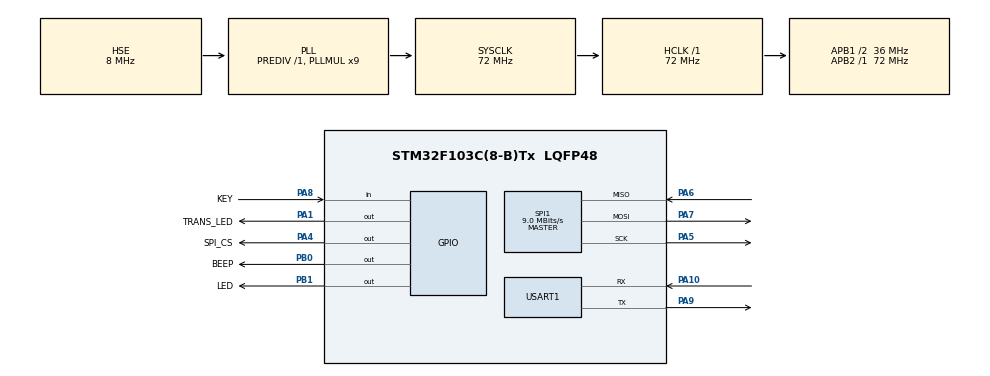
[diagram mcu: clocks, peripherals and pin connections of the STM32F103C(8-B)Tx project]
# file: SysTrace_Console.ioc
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Dma.Request0=USART1_RX
Dma.USART1_RX.0.Direction=DMA_PERIPH_TO_MEMORY
Dma.USART1_RX.0.Instance=DMA1_Channel5
Dma.USART1_RX.0.MemDataAlignment=DMA_MDATAALIGN_BYTE
Dma.USART1_RX.0.MemInc=DMA_MINC_ENABLE
Dma.USART1_RX.0.Mode=DMA_NORMAL
Dma.USART1_RX.0.PeriphDataAlignment=DMA_PDATAALIGN_BYTE
Dma.USART1_RX.0.PeriphInc=DMA_PINC_DISABLE
Dma.USART1_RX.0.Priority=DMA_PRIORITY_LOW
IWDG.Prescaler=IWDG_PRESCALER_64
IWDG.Reload=2499
Mcu.Family=STM32F1
Mcu.Name=STM32F103C(8-B)Tx
Mcu.Package=LQFP48
NVIC.DMA1_Channel5_IRQn=true\:6\:0\:true\:false\:true\:false\:true\:true
NVIC.PriorityGroup=NVIC_PRIORITYGROUP_4
NVIC.TIM1_UP_IRQn=true\:15\:0\:false\:false\:true\:false\:true\:true
NVIC.TimeBase=TIM1_UP_IRQn
NVIC.TimeBaseIP=TIM1
NVIC.USART1_IRQn=true\:6\:0\:true\:false\:true\:true\:true\:true
PA1.GPIO_Label=TRANS_LED
PA1.PinState=GPIO_PIN_RESET
PA1.Signal=GPIO_Output
PA10.Mode=Asynchronous
PA10.Signal=USART1_RX
PA13.Mode=Serial_Wire
PA13.Signal=SYS_JTMS-SWDIO
PA14.Mode=Serial_Wire
PA14.Signal=SYS_JTCK-SWCLK
PA4.GPIO_Label=SPI_CS
PA4.GPIO_ModeDefaultOutputPP=GPIO_MODE_OUTPUT_PP
PA4.PinState=GPIO_PIN_SET
PA4.Signal=GPIO_Output
PA5.Mode=Full_Duplex_Master
PA5.Signal=SPI1_SCK
PA6.Mode=Full_Duplex_Master
PA6.Signal=SPI1_MISO
PA7.Mode=Full_Duplex_Master
PA7.Signal=SPI1_MOSI
PA8.GPIO_Label=KEY
PA8.GPIO_PuPd=GPIO_PULLUP
PA8.Signal=GPIO_Input
PA9.Mode=Asynchronous
PA9.Signal=USART1_TX
PB0.GPIO_Label=BEEP
PB0.PinState=GPIO_PIN_SET
PB0.Signal=GPIO_Output
PB1.GPIO_Label=LED
PB1.GPIO_ModeDefaultOutputPP=GPIO_MODE_OUTPUT_PP
PB1.PinState=GPIO_PIN_RESET
PB1.Signal=GPIO_Output
PC14-OSC32_IN.Mode=LSE-External-Oscillator
PC14-OSC32_IN.Signal=RCC_OSC32_IN
PC15-OSC32_OUT.Mode=LSE-External-Oscillator
PC15-OSC32_OUT.Signal=RCC_OSC32_OUT
PD0-OSC_IN.Mode=HSE-External-Oscillator
PD0-OSC_IN.Signal=RCC_OSC_IN
PD1-OSC_OUT.Mode=HSE-External-Oscillator
PD1-OSC_OUT.Signal=RCC_OSC_OUT
ProjectManager.HeapSize=0x200
ProjectManager.StackSize=0x400
ProjectManager.TargetToolchain=CMake
RCC.AHBFreq_Value=72000000
RCC.APB1CLKDivider=RCC_HCLK_DIV2
RCC.APB1Freq_Value=36000000
RCC.APB1TimFreq_Value=72000000
RCC.APB2Freq_Value=72000000
RCC.APB2TimFreq_Value=72000000
RCC.EnbaleCSS=true
RCC.HCLKFreq_Value=72000000
RCC.PLLMUL=RCC_PLL_MUL9
RCC.PLLSourceVirtual=RCC_PLLSOURCE_HSE
RCC.RTCClockSelection=RCC_RTCCLKSOURCE_LSE
RCC.SYSCLKFreq_VALUE=72000000
RCC.SYSCLKSource=RCC_SYSCLKSOURCE_PLLCLK
RCC.USBFreq_Value=72000000
RTC.Date=25
RTC.Format=RTC_FORMAT_BCD
RTC.Hours=14
RTC.Minutes=30
RTC.Month=RTC_MONTH_OCTOBER
RTC.WeekDay=RTC_WEEKDAY_SUNDAY
RTC.Year=26
SPI1.BaudRatePrescaler=SPI_BAUDRATEPRESCALER_8
SPI1.CalculateBaudRate=9.0 MBits/s
SPI1.Direction=SPI_DIRECTION_2LINES
SPI1.Mode=SPI_MODE_MASTER
SPI1.VirtualType=VM_MASTER
USART1.VirtualMode=VM_ASYNC
VP_IWDG_VS_IWDG.Mode=IWDG_Activate
VP_RTC_VS_RTC_Activate.Mode=RTC_Enabled
VP_RTC_VS_RTC_Calendar.Mode=RTC_Calendar
VP_SYS_VS_tim1.Mode=TIM1
board=custom

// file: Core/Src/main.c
/* USER CODE BEGIN Header */
/**
  ******************************************************************************
  * @file           : main.c
  * @brief          : Main program body
  ******************************************************************************
  * @attention
  *
  * Copyright (c) 2026 STMicroelectronics.
  * All rights reserved.
  *
  * This software is licensed under terms that can be found in the LICENSE file
  * in the root directory of this software component.
  * If no LICENSE file comes with this software, it is provided AS-IS.
  *
  ******************************************************************************
  */
/* USER CODE END Header */
#include "main.h"
#include "dma.h"
#include "iwdg.h"
#include "rtc.h"
#include "spi.h"
#include "usart.h"
#include "gpio.h"

/* USER CODE BEGIN Includes */
#include "FreeRTOS.h"
#include "task.h"

/*Application*/
#include "dma_task.h"
#include "key_control_task.h"
#include "event_process_task.h"
#include "beep_process.h"
#include "sys_monitor_task.h"
#include "log_flush_task.h"

/*Utilities*/
#include "print_helper.h"
#include "w25q_flash.h"

#include <stdio.h>
/* USER CODE END Includes */

/* USER CODE BEGIN PV */

/* 断言失败时的落点，在调试器 Watch 里看这两个值即可定位是哪条 configASSERT */
volatile uint32_t ulAssertLine = 0xFFFFFFFFU;
volatile uint32_t ulAssertFile = 0xFFFFFFFFU;
/* USER CODE END PV */

void SystemClock_Config(void);

int main(void)
{

  /* MCU Configuration--------------------------------------------------------*/

  /* Reset of all peripherals, Initializes the Flash interface and the Systick. */
  HAL_Init();

  /* Configure the system clock */
  SystemClock_Config();

  /* USER CODE BEGIN SysInit */
  __HAL_DBGMCU_FREEZE_IWDG();
  /* USER CODE END SysInit */

  /* Initialize all configured peripherals */
  MX_GPIO_Init();
  MX_DMA_Init();
  MX_USART1_UART_Init();
  MX_SPI1_Init();
  MX_IWDG_Init();
  MX_RTC_Init();
  /* USER CODE BEGIN 2 */
  uint32_t csr = RCC->CSR;
  const char *cause = "UNKNOWN";
  if      (csr & RCC_CSR_IWDGRSTF) cause = "IWDG";
  else if (csr & RCC_CSR_WWDGRSTF) cause = "WWDG";
  else if (csr & RCC_CSR_SFTRSTF)  cause = "SOFT";
  else if (csr & RCC_CSR_PORRSTF)  cause = "POR";
  else if (csr & RCC_CSR_PINRSTF)  cause = "PIN";
  else if (csr & RCC_CSR_LPWRRSTF) cause = "LPWR";
  __HAL_RCC_CLEAR_RESET_FLAGS();

  char banner[32];
  int n = snprintf(banner, sizeof(banner), "BOOT %s\r\n", cause);
  if (n > 0)
  {
    HAL_UART_Transmit(&huart1, (uint8_t *)banner, (uint16_t)n, 100);
  }

  vDMA_Task_Init();
  vUART_Gatekeeper_Task_Init();
  vBeep_Task_Init();
  vLog_Flush_Task_Init();
  vSys_Monitor_Task_Init();
  vKey_Control_Task_Init();
  vEvent_Process_Task_Init();

  vTaskStartScheduler();

  /* USER CODE END 2 */

  /* Infinite loop */
  while (1)
  {

  }
}

void SystemClock_Config(void)
{
  RCC_OscInitTypeDef RCC_OscInitStruct = {0};
  RCC_ClkInitTypeDef RCC_ClkInitStruct = {0};
  RCC_PeriphCLKInitTypeDef PeriphClkInit = {0};

  /** Initializes the RCC Oscillators according to the specified parameters
  * in the RCC_OscInitTypeDef structure.
  */
  RCC_OscInitStruct.OscillatorType = RCC_OSCILLATORTYPE_LSI|RCC_OSCILLATORTYPE_HSE
                              |RCC_OSCILLATORTYPE_LSE;
  RCC_OscInitStruct.HSEState = RCC_HSE_ON;
  RCC_OscInitStruct.HSEPredivValue = RCC_HSE_PREDIV_DIV1;
  RCC_OscInitStruct.LSEState = RCC_LSE_ON;
  RCC_OscInitStruct.HSIState = RCC_HSI_ON;
  RCC_OscInitStruct.LSIState = RCC_LSI_ON;
  RCC_OscInitStruct.PLL.PLLState = RCC_PLL_ON;
  RCC_OscInitStruct.PLL.PLLSource = RCC_PLLSOURCE_HSE;
  RCC_OscInitStruct.PLL.PLLMUL = RCC_PLL_MUL9;
  if (HAL_RCC_OscConfig(&RCC_OscInitStruct) != HAL_OK)
  {
    Error_Handler();
  }

  /** Initializes the CPU, AHB and APB buses clocks
  */
  RCC_ClkInitStruct.ClockType = RCC_CLOCKTYPE_HCLK|RCC_CLOCKTYPE_SYSCLK
                              |RCC_CLOCKTYPE_PCLK1|RCC_CLOCKTYPE_PCLK2;
  RCC_ClkInitStruct.SYSCLKSource = RCC_SYSCLKSOURCE_PLLCLK;
  RCC_ClkInitStruct.AHBCLKDivider = RCC_SYSCLK_DIV1;
  RCC_ClkInitStruct.APB1CLKDivider = RCC_HCLK_DIV2;
  RCC_ClkInitStruct.APB2CLKDivider = RCC_HCLK_DIV1;

  if (HAL_RCC_ClockConfig(&RCC_ClkInitStruct, FLASH_LATENCY_2) != HAL_OK)
  {
    Error_Handler();
  }
  PeriphClkInit.PeriphClockSelection = RCC_PERIPHCLK_RTC;
  PeriphClkInit.RTCClockSelection = RCC_RTCCLKSOURCE_LSE;
  if (HAL_RCCEx_PeriphCLKConfig(&PeriphClkInit) != HAL_OK)
  {
    Error_Handler();
  }

  /** Enables the Clock Security System
  */
  HAL_RCC_EnableCSS();
}

/* USER CODE BEGIN 4 */
void vApplicationIdleHook(void)
{
  HAL_IWDG_Refresh(&hiwdg);
}

void vApplicationMallocFailedHook(void)
{
  __disable_irq();
  for(;;){}
}

void vApplicationStackOverflowHook(TaskHandle_t xTask, char *pcTaskName)
{
  (void)xTask;
  (void)pcTaskName;
  __disable_irq();
  for(;;){}
}

/* USER CODE END 4 */

void HAL_TIM_PeriodElapsedCallback(TIM_HandleTypeDef *htim)
{
  if (htim->Instance == TIM1)
  {
    HAL_IncTick();
  }
}

void Error_Handler(void)
{
  __disable_irq();
  while (1)
  {
  }
}
